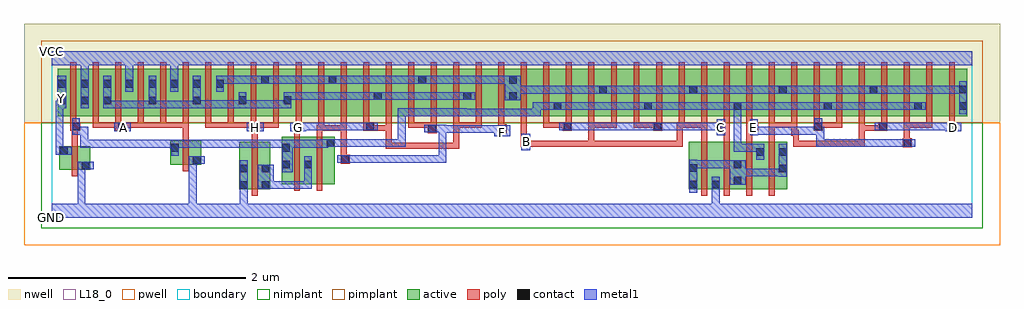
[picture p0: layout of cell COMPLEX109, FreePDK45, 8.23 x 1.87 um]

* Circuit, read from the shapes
.subckt COMPLEX109 A B C D E F G GND H VCC Y
M1 GND n1 Y VSUBS nfet w=0.2u l=0.05u
M2 GND A n1 VSUBS nfet w=0.2u l=0.05u
M3 n2 H GND VSUBS nfet w=0.4u l=0.05u
M4 n2 G n1 VSUBS nfet w=0.4u l=0.05u
M5 n1 F n2 VSUBS nfet w=0.4u l=0.05u
M6 GND B n3 VSUBS nfet w=0.4u l=0.05u
M7 n3 C GND VSUBS nfet w=0.4u l=0.05u
M8 n1 E n3 VSUBS nfet w=0.4u l=0.05u
M9 n3 D n1 VSUBS nfet w=0.4u l=0.05u
M10 VCC n1 Y n4 pfet w=0.4u l=0.05u
M11 n5 A VCC n4 pfet w=0.4u l=0.05u m=5
M12 n6 H n5 n4 pfet w=0.4u l=0.05u m=4
M13 n7 G n5 n4 pfet w=0.4u l=0.05u
M14 n6 F n7 n4 pfet w=0.4u l=0.05u
M15 n8 F n6 n4 pfet w=0.4u l=0.05u
M16 n5 G n8 n4 pfet w=0.4u l=0.05u
M17 n9 G n5 n4 pfet w=0.4u l=0.05u
M18 n6 F n9 n4 pfet w=0.4u l=0.05u
M19 n10 F n6 n4 pfet w=0.4u l=0.05u
M20 n5 G n10 n4 pfet w=0.4u l=0.05u
M21 n11 G n5 n4 pfet w=0.4u l=0.05u
M22 n6 F n11 n4 pfet w=0.4u l=0.05u
M23 n12 B n6 n4 pfet w=0.4u l=0.05u
M24 n1 C n12 n4 pfet w=0.4u l=0.05u
M25 n13 C n1 n4 pfet w=0.4u l=0.05u
M26 n6 B n13 n4 pfet w=0.4u l=0.05u
M27 n14 B n6 n4 pfet w=0.4u l=0.05u
M28 n1 C n14 n4 pfet w=0.4u l=0.05u
M29 n15 C n1 n4 pfet w=0.4u l=0.05u
M30 n6 B n15 n4 pfet w=0.4u l=0.05u
M31 n16 B n6 n4 pfet w=0.4u l=0.05u
M32 n1 C n16 n4 pfet w=0.4u l=0.05u
M33 n17 E n1 n4 pfet w=0.4u l=0.05u
M34 n6 D n17 n4 pfet w=0.4u l=0.05u
M35 n18 D n6 n4 pfet w=0.4u l=0.05u
M36 n1 E n18 n4 pfet w=0.4u l=0.05u
M37 n19 E n1 n4 pfet w=0.4u l=0.05u
M38 n6 D n19 n4 pfet w=0.4u l=0.05u
M39 n20 D n6 n4 pfet w=0.4u l=0.05u
M40 n1 E n20 n4 pfet w=0.4u l=0.05u
M41 n21 E n1 n4 pfet w=0.4u l=0.05u
M42 n6 D n21 n4 pfet w=0.4u l=0.05u
.ends

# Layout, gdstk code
import gdstk
lib = gdstk.Library(unit=1e-6, precision=1e-09)
def R(c, l, rs):  # rectangles x0, y0, x1, y1
    for r in rs: c.add(gdstk.rectangle(r[:2], r[2:], *l))
def A(c, l, x, y, w, h, nx, ny, dx, dy):  # array of equal rectangles
    R(c, l, [(x+i*dx, y+j*dy, x+i*dx+w, y+j*dy+h) for i in range(nx) for j in range(ny)])
active = (1, 0)
pwell = (2, 0)
nwell = (3, 0)
nimplant = (4, 0)
pimplant = (5, 0)
poly = (9, 0)
contact = (10, 0)
metal1 = (11, 0)
L18_0 = (18, 0)
boundary = (235, 0)

complex109 = lib.new_cell('COMPLEX109')
A(complex109, active, 0.05, 0.855, 0.075, 0.345, 3, 1, 0.38, 0)
A(complex109, active, 1.38, 0.855, 0.265, 0.4, 3, 1, 0.19, 0)
A(complex109, active, 1.95, 0.855, 0.225, 0.4, 3, 1, 0.38, 0)
A(complex109, active, 3.85, 0.855, 0.075, 0.345, 3, 1, 0.76, 0)
A(complex109, active, 4.455, 0.855, 0.23, 0.4, 3, 1, 0.38, 0)
A(complex109, active, 4.61, 0.855, 0.225, 0.4, 3, 1, 0.38, 0)
A(complex109, active, 5.595, 0.855, 0.225, 0.4, 3, 1, 0.38, 0)
A(complex109, active, 5.745, 0.855, 0.23, 0.4, 3, 1, 0.38, 0)
A(complex109, active, 5.745, 0.855, 0.075, 0.215, 3, 1, 0.76, 0)
R(complex109, active, [(1.58,0.237,1.84,0.637), (1.58,0.237,1.655,0.597), (1.765,0.237,1.84,0.597), (5.37,0.24,5.445,0.64), (5.37,0.24,5.635,0.64), (5.56,0.24,5.82,0.64), (5.56,0.24,5.635,0.492), (5.745,0.24,6.01,0.64), (5.935,0.24,6.2,0.64), (6.125,0.24,6.2,0.64), (5.745,0.272,5.82,0.597), (1.937,0.28,2.197,0.68), (2.122,0.28,2.387,0.68), (2.312,0.28,2.387,0.68), (1.937,0.33,2.012,0.68), (5.935,0.33,6.01,0.59), (2.122,0.345,2.197,0.492), (0.062,0.402,0.137,0.602), (0.062,0.402,0.322,0.602), (0.247,0.402,0.322,0.602), (1,0.447,1.075,0.647), (1,0.447,1.26,0.647), (1.185,0.447,1.26,0.647), (0.05,0.855,0.315,1.255), (0.24,0.855,0.315,1.255), (0.24,0.855,0.505,1.255), (0.43,0.855,0.69,1.255), (0.615,0.855,0.69,1.255), (0.615,0.855,0.885,1.255), (0.81,0.855,1.07,1.255), (0.995,0.855,1.07,1.255), (0.995,0.855,1.26,1.255), (1.185,0.855,1.26,1.2), (1.185,0.855,1.455,1.255), (1.38,0.855,1.455,1.2), (1.57,0.855,1.645,1.07), (1.76,0.855,1.835,1.2), (1.95,0.855,2.025,1.07), (2.175,0.855,2.405,1.255), (2.33,0.855,2.405,1.2), (2.555,0.855,2.785,1.255), (2.71,0.855,2.785,1.07), (2.935,0.855,3.16,1.255), (3.085,0.855,3.16,1.2), (3.085,0.855,3.315,1.255), (3.315,0.855,3.54,1.255), (3.465,0.855,3.695,1.255), (3.465,0.855,3.54,1.07), (3.695,0.855,3.925,1.255), (3.85,0.855,4.075,1.255), (4.075,0.855,4.3,1.255), (4.225,0.855,4.455,1.255), (4.225,0.855,4.3,1.07), (4.99,0.855,5.065,1.07), (6.125,0.855,6.2,1.2), (6.735,0.855,6.965,1.255), (6.89,0.855,6.965,1.2), (6.89,0.855,7.115,1.255), (7.115,0.855,7.34,1.255), (7.265,0.855,7.495,1.255), (7.495,0.855,7.72,1.255), (7.645,0.855,7.72,1.2)])
R(complex109, pwell, [(-0.235,-0.235,7.995,0.8)])
R(complex109, nwell, [(-0.235,0.8,7.995,1.635)])
R(complex109, nimplant, [(-0.09,-0.09,7.85,0.8)])
R(complex109, pimplant, [(-0.09,0.8,7.85,1.49)])
A(complex109, poly, 5.475, 0.185, 0.05, 0.51, 4, 1, 0.19, 0)
A(complex109, poly, 0.155, 0.755, 0.05, 0.095, 11, 1, 0.19, 0)
A(complex109, poly, 0.915, 0.755, 0.05, 0.05, 3, 1, 0.19, 0)
A(complex109, poly, 3.005, 0.755, 0.05, 0.095, 4, 1, 0.19, 0)
A(complex109, poly, 4.145, 0.755, 0.05, 0.095, 8, 1, 0.19, 0)
A(complex109, poly, 4.525, 0.755, 0.05, 0.05, 3, 1, 0.19, 0)
A(complex109, poly, 4.525, 0.755, 0.24, 0.05, 3, 1, 0.76, 0)
A(complex109, poly, 6.045, 0.755, 0.05, 0.095, 4, 1, 0.19, 0)
A(complex109, poly, 6.995, 0.755, 0.05, 0.095, 4, 1, 0.19, 0)
A(complex109, poly, 0.155, 0.8, 0.05, 0.51, 40, 1, 0.19, 0)
R(complex109, poly, [(1.685,0.182,1.735,0.692), (2.042,0.225,2.092,0.735), (2.232,0.225,2.282,0.735), (0.167,0.347,0.217,0.657), (1.105,0.392,1.155,0.702), (2.437,0.455,2.512,0.53), (2.437,0.48,2.487,0.78), (2.815,0.58,2.865,0.63), (2.815,0.58,2.997,0.63), (2.815,0.58,2.865,0.78), (2.947,0.58,2.997,0.63), (2.947,0.58,2.997,0.63), (2.947,0.58,2.997,0.63), (2.947,0.58,3.302,0.63), (3.252,0.58,3.302,0.63), (3.252,0.58,3.302,0.63), (3.252,0.58,3.302,0.63), (3.252,0.58,3.435,0.63), (3.385,0.58,3.435,0.63), (3.385,0.58,3.435,0.63), (3.385,0.58,3.435,0.63), (3.385,0.58,3.435,0.805), (7.177,0.592,7.252,0.667), (3.955,0.597,4.03,0.672), (3.98,0.597,4.03,0.647), (3.98,0.597,4.03,0.647), (3.98,0.597,4.03,0.647), (3.98,0.597,4.03,0.647), (3.98,0.597,4.03,0.647), (3.98,0.597,4.03,0.647), (3.98,0.597,4.227,0.647), (4.177,0.597,4.227,0.647), (4.177,0.597,4.227,0.647), (4.177,0.597,4.227,0.647), (4.177,0.597,4.36,0.647), (4.31,0.597,4.36,0.647), (4.31,0.597,4.36,0.647), (4.31,0.597,4.36,0.647), (4.31,0.597,4.575,0.647), (4.525,0.597,4.575,0.647), (4.525,0.597,4.575,0.805), (4.525,0.597,4.69,0.647), (4.64,0.597,4.69,0.647), (4.64,0.597,4.822,0.647), (4.772,0.597,4.822,0.647), (4.772,0.597,4.822,0.647), (4.772,0.597,4.822,0.647), (4.772,0.597,4.955,0.647), (4.905,0.597,4.955,0.647), (4.905,0.597,5.187,0.647), (5.137,0.597,5.187,0.647), (5.137,0.597,5.187,0.647), (5.137,0.597,5.187,0.647), (5.137,0.597,5.32,0.647), (5.27,0.597,5.32,0.647), (5.27,0.597,5.32,0.647), (5.27,0.597,5.32,0.647), (5.27,0.597,5.32,0.805), (6.25,0.597,6.5,0.647), (6.25,0.597,6.3,0.74), (6.45,0.597,6.5,0.647), (6.45,0.597,6.632,0.647), (6.582,0.597,6.632,0.647), (6.582,0.597,6.632,0.647), (6.582,0.597,6.632,0.647), (6.582,0.597,6.855,0.647), (6.805,0.597,6.855,0.647), (6.805,0.597,6.855,0.647), (6.805,0.597,6.855,0.647), (6.805,0.597,6.855,0.78), (0.167,0.607,0.217,0.78), (7.185,0.617,7.235,0.667), (7.185,0.617,7.235,0.667), (7.185,0.617,7.235,0.805), (3.955,0.622,4.005,0.85), (1.685,0.642,1.735,0.78), (5.475,0.645,5.525,0.805), (5.665,0.645,5.715,0.772), (5.855,0.645,5.905,0.772), (6.045,0.645,6.095,0.805), (1.105,0.652,1.155,0.805), (2.042,0.685,2.092,0.78), (2.232,0.685,2.282,0.78), (6.235,0.69,6.285,0.74), (6.235,0.69,6.285,0.74), (6.235,0.69,6.285,0.74), (6.235,0.69,6.3,0.74), (6.235,0.69,6.285,0.805), (3.762,0.71,3.837,0.785), (3.17,0.712,3.245,0.805), (5.607,0.722,5.715,0.797), (5.855,0.722,5.957,0.797), (0.155,0.73,0.24,0.805), (0.535,0.73,0.63,0.805), (1.675,0.73,1.75,0.805), (2.042,0.73,2.117,0.805), (2.232,0.73,2.295,0.78), (2.245,0.73,2.485,0.78), (2.245,0.73,2.295,0.85), (2.435,0.73,2.485,0.78), (2.435,0.73,2.485,0.78), (2.435,0.73,2.485,0.85), (2.435,0.73,2.487,0.78), (2.437,0.73,2.487,0.78), (2.437,0.73,2.487,0.78), (2.625,0.73,2.72,0.805), (2.67,0.73,2.865,0.78), (2.815,0.73,2.865,0.78), (2.815,0.73,2.865,0.78), (2.815,0.73,2.865,0.78), (2.815,0.73,2.865,0.78), (2.815,0.73,2.865,0.78), (2.815,0.73,2.865,0.85), (4.31,0.73,4.385,0.805), (5.07,0.73,5.145,0.805), (6.425,0.73,6.5,0.805), (6.805,0.73,6.855,0.78), (6.805,0.73,6.855,0.78), (6.805,0.73,6.855,0.78), (6.805,0.73,7.02,0.78), (6.805,0.73,6.855,0.85), (6.97,0.73,7.045,0.805), (6.97,0.73,7.02,0.78), (6.97,0.73,7.02,0.78), (7.562,0.73,7.637,0.805), (3.765,0.735,3.815,0.85), (5.665,0.747,5.715,0.85), (5.855,0.747,5.905,0.85), (0.345,0.755,0.395,0.805), (0.345,0.755,0.395,0.805), (0.345,0.755,0.395,0.805), (0.345,0.755,0.585,0.805), (0.58,0.755,0.63,0.805), (0.58,0.755,0.63,0.805), (0.58,0.755,0.775,0.805), (0.725,0.755,0.775,0.805), (0.725,0.755,0.775,0.805), (0.725,0.755,0.775,0.805), (0.725,0.755,0.965,0.805), (0.915,0.755,0.965,0.805), (0.915,0.755,0.965,0.805), (0.915,0.755,1.155,0.805), (1.295,0.755,1.345,0.805), (1.295,0.755,1.345,0.805), (1.295,0.755,1.535,0.805), (1.485,0.755,1.535,0.805), (1.485,0.755,1.535,0.805), (1.485,0.755,1.535,0.805), (1.485,0.755,1.725,0.805), (1.7,0.755,1.75,0.805), (1.7,0.755,1.75,0.805), (1.7,0.755,1.915,0.805), (1.865,0.755,1.915,0.805), (2.625,0.755,2.675,0.85), (3.005,0.755,3.055,0.805), (3.005,0.755,3.22,0.805), (3.17,0.755,3.22,0.805), (3.17,0.755,3.22,0.805), (3.385,0.755,3.435,0.805), (3.385,0.755,3.435,0.805), (3.385,0.755,3.435,0.805), (3.385,0.755,3.625,0.805), (3.575,0.755,3.625,0.805), (3.575,0.755,3.625,0.805), (3.575,0.755,3.625,0.805), (4.145,0.755,4.195,0.805), (4.145,0.755,4.195,0.805), (4.145,0.755,4.195,0.805), (4.145,0.755,4.36,0.805), (4.525,0.755,4.575,0.805), (4.525,0.755,4.575,0.805), (4.525,0.755,4.575,0.805), (4.525,0.755,4.575,0.805), (4.905,0.755,5.12,0.805), (5.07,0.755,5.12,0.805), (5.07,0.755,5.12,0.805), (5.27,0.755,5.32,0.805), (5.27,0.755,5.32,0.805), (5.27,0.755,5.335,0.805), (5.475,0.755,5.525,0.805), (5.475,0.755,5.525,0.805), (5.475,0.755,5.525,0.805), (6.045,0.755,6.095,0.805), (6.045,0.755,6.095,0.805), (6.045,0.755,6.095,0.805), (6.235,0.755,6.285,0.805), (6.45,0.755,6.665,0.805), (6.615,0.755,6.665,0.805), (6.615,0.755,6.665,0.805), (6.615,0.755,6.665,0.805), (7.185,0.755,7.235,0.805), (7.185,0.755,7.425,0.805), (7.375,0.755,7.425,0.805), (7.375,0.755,7.425,0.805), (7.375,0.755,7.425,0.805)])
A(complex109, contact, 5.75, 0.907, 0.065, 0.065, 3, 1, 0.76, 0)
A(complex109, contact, 0.055, 0.955, 0.065, 0.065, 3, 2, 0.19, 0.14)
R(complex109, contact, [(1.585,0.242,1.65,0.307), (1.77,0.242,1.835,0.307), (5.375,0.245,5.44,0.31), (5.565,0.245,5.63,0.31), (5.75,0.277,5.815,0.342), (6.13,0.38,6.195,0.445), (1.585,0.382,1.65,0.447), (1.77,0.382,1.835,0.447), (5.375,0.385,5.44,0.45), (0.252,0.407,0.317,0.472), (1.942,0.415,2.007,0.48), (2.127,0.415,2.192,0.48), (5.75,0.417,5.815,0.482), (1.19,0.452,1.255,0.517), (2.442,0.46,2.507,0.525), (5.94,0.52,6.005,0.585), (6.13,0.52,6.195,0.585), (0.067,0.53,0.132,0.595), (1.005,0.555,1.07,0.62), (1.942,0.555,2.007,0.62), (2.317,0.597,2.382,0.662), (7.182,0.597,7.247,0.662), (3.96,0.602,4.025,0.667), (3.767,0.715,3.832,0.78), (3.175,0.717,3.24,0.782), (5.612,0.727,5.677,0.792), (5.887,0.727,5.952,0.792), (0.17,0.735,0.235,0.8), (0.56,0.735,0.625,0.8), (1.68,0.735,1.745,0.8), (2.047,0.735,2.112,0.8), (2.65,0.735,2.715,0.8), (4.315,0.735,4.38,0.8), (5.075,0.735,5.14,0.8), (6.43,0.735,6.495,0.8), (6.975,0.735,7.04,0.8), (7.567,0.735,7.632,0.8), (4.23,0.907,4.295,0.972), (4.995,0.907,5.06,0.972), (7.65,0.907,7.715,0.972), (0.815,0.955,0.88,1.02), (1.19,0.955,1.255,1.02), (1.575,0.957,1.64,1.022), (1.955,0.957,2.02,1.022), (3.855,0.99,3.92,1.055), (2.715,0.992,2.78,1.057), (3.47,0.992,3.535,1.057), (4.615,1.045,4.68,1.11), (5.375,1.045,5.44,1.11), (6.13,1.045,6.195,1.11), (6.895,1.045,6.96,1.11), (7.65,1.047,7.715,1.112), (0.62,1.095,0.685,1.16), (0.815,1.095,0.88,1.16), (1,1.095,1.065,1.16), (1.19,1.095,1.255,1.16), (1.385,1.095,1.45,1.16), (1.765,1.13,1.83,1.195), (2.335,1.13,2.4,1.195), (3.09,1.13,3.155,1.195), (3.855,1.13,3.92,1.195)])
A(complex109, metal1, 5.715, 0.907, 0.135, 0.065, 3, 1, 0.76, 0)
A(complex109, metal1, 3.89, 1.045, 0.232, 0.065, 3, 1, 1.52, 0)
R(complex109, metal1, [(0,0,7.76,0.115), (0.217,0.05,0.282,0.115), (0.217,0.05,0.282,0.115), (0.217,0.05,0.282,0.115), (0.217,0.05,0.282,0.115), (0.217,0.05,0.282,0.115), (0.217,0.05,0.282,0.115), (0.217,0.05,0.282,0.115), (0.217,0.05,0.282,0.115), (0.217,0.05,0.282,0.472), (1.155,0.05,1.22,0.115), (1.155,0.05,1.22,0.115), (1.155,0.05,1.22,0.115), (1.155,0.05,1.22,0.115), (1.155,0.05,1.22,0.115), (1.155,0.05,1.22,0.115), (1.155,0.05,1.22,0.115), (1.155,0.05,1.22,0.115), (1.155,0.05,1.22,0.517), (1.585,0.05,1.65,0.115), (1.585,0.05,1.65,0.115), (1.585,0.05,1.65,0.272), (5.565,0.05,5.63,0.115), (5.565,0.05,5.63,0.115), (5.565,0.05,5.63,0.115), (5.565,0.05,5.63,0.115), (5.565,0.05,5.63,0.275), (1.585,0.207,1.65,0.272), (1.585,0.207,1.65,0.272), (1.585,0.207,1.65,0.482), (5.375,0.21,5.44,0.485), (5.565,0.21,5.63,0.345), (1.735,0.242,1.87,0.447), (1.805,0.242,1.87,0.307), (1.805,0.242,1.87,0.307), (1.805,0.242,2.007,0.307), (1.942,0.242,2.007,0.307), (1.942,0.242,2.192,0.307), (2.127,0.242,2.192,0.445), (5.715,0.277,5.85,0.482), (6.13,0.345,6.195,0.62), (5.785,0.347,5.987,0.412), (5.922,0.347,5.987,0.412), (5.922,0.347,5.987,0.412), (5.922,0.347,5.987,0.412), (5.922,0.347,6.195,0.412), (6.13,0.347,6.195,0.412), (6.13,0.347,6.195,0.412), (1.942,0.38,2.032,0.655), (2.127,0.38,2.192,0.445), (2.127,0.38,2.192,0.515), (0.217,0.407,0.352,0.472), (5.375,0.417,5.475,0.482), (5.41,0.417,5.475,0.482), (5.41,0.417,5.642,0.482), (5.577,0.417,5.642,0.482), (5.577,0.417,5.642,0.482), (5.577,0.417,5.642,0.482), (5.577,0.417,5.78,0.482), (1.155,0.452,1.29,0.517), (2.407,0.46,2.542,0.525), (2.477,0.46,2.607,0.525), (2.542,0.46,2.607,0.525), (2.542,0.46,2.705,0.525), (2.64,0.46,2.705,0.525), (2.64,0.46,2.842,0.525), (2.777,0.46,2.842,0.525), (2.777,0.46,2.842,0.525), (2.777,0.46,2.842,0.525), (2.777,0.46,2.98,0.525), (2.915,0.46,2.98,0.525), (2.915,0.46,2.98,0.525), (2.915,0.46,2.98,0.525), (2.915,0.46,3.19,0.525), (3.125,0.46,3.19,0.525), (3.125,0.46,3.327,0.525), (3.262,0.46,3.327,0.525), (3.262,0.46,3.327,0.525), (3.262,0.46,3.327,0.525), (3.262,0.46,3.327,0.525), (3.262,0.46,3.327,0.525), (3.262,0.46,3.327,0.78), (5.94,0.485,6.005,0.62), (1.005,0.52,1.07,0.655), (0.032,0.53,0.097,0.595), (0.032,0.53,0.097,0.595), (0.032,0.53,0.097,0.595), (0.032,0.53,0.097,0.595), (0.032,0.53,0.167,0.595), (0.032,0.53,0.097,0.985), (5.75,0.555,5.815,0.62), (5.75,0.555,5.815,0.62), (5.75,0.555,5.815,0.62), (5.75,0.555,6.005,0.62), (5.75,0.555,5.815,0.972), (5.94,0.555,6.005,0.62), (5.94,0.555,6.005,0.62), (3.957,0.567,4.032,0.707), (0.24,0.59,0.305,0.655), (0.24,0.59,0.442,0.655), (0.24,0.59,0.305,0.765), (0.377,0.59,0.442,0.655), (0.377,0.59,0.442,0.655), (0.377,0.59,0.442,0.655), (0.377,0.59,0.605,0.655), (0.54,0.59,0.605,0.655), (0.54,0.59,0.637,0.655), (0.572,0.59,0.637,0.655), (0.572,0.59,0.742,0.655), (0.677,0.59,0.742,0.655), (0.677,0.59,0.88,0.655), (0.815,0.59,0.88,0.655), (0.815,0.59,0.88,0.655), (0.815,0.59,0.88,0.655), (0.815,0.59,1.07,0.655), (1.005,0.59,1.07,0.655), (1.005,0.59,1.07,0.655), (1.005,0.59,1.207,0.655), (1.142,0.59,1.207,0.655), (1.142,0.59,1.207,0.655), (1.142,0.59,1.207,0.655), (1.142,0.59,1.392,0.655), (1.327,0.59,1.392,0.655), (1.327,0.59,1.392,0.655), (1.327,0.59,1.392,0.655), (1.327,0.59,1.65,0.655), (1.585,0.59,1.65,0.655), (1.585,0.59,1.65,0.655), (1.585,0.59,1.65,0.655), (1.585,0.59,1.787,0.655), (1.722,0.59,1.787,0.655), (1.722,0.59,1.787,0.655), (1.722,0.59,1.787,0.655), (1.722,0.59,2.007,0.655), (1.967,0.59,2.032,0.655), (1.967,0.59,2.032,0.655), (1.967,0.59,2.192,0.655), (2.127,0.59,2.192,0.655), (2.127,0.59,2.33,0.655), (2.265,0.59,2.33,0.662), (2.265,0.597,2.347,0.662), (2.282,0.597,2.417,0.662), (2.352,0.597,2.542,0.662), (2.477,0.597,2.542,0.662), (2.477,0.597,2.605,0.662), (2.54,0.597,2.605,0.662), (2.54,0.597,2.692,0.662), (2.627,0.597,2.692,0.662), (2.627,0.597,2.842,0.662), (2.777,0.597,2.842,0.662), (2.777,0.597,2.842,0.662), (2.777,0.597,2.842,0.662), (2.777,0.597,2.982,0.662), (2.917,0.597,2.982,0.662), (2.917,0.597,2.982,0.662), (2.917,0.597,2.982,0.662), (2.917,0.597,2.982,0.92), (6.447,0.597,6.512,0.662), (6.447,0.597,6.512,0.662), (6.447,0.597,6.512,0.662), (6.447,0.597,6.65,0.662), (6.447,0.597,6.512,0.765), (6.585,0.597,6.65,0.662), (6.585,0.597,6.787,0.662), (6.722,0.597,6.787,0.662), (6.722,0.597,6.787,0.662), (6.722,0.597,6.787,0.662), (6.722,0.597,6.995,0.662), (6.93,0.597,6.995,0.662), (6.93,0.597,6.995,0.662), (6.93,0.597,6.995,0.662), (6.93,0.597,7.162,0.662), (7.097,0.597,7.162,0.662), (7.097,0.597,7.212,0.662), (7.147,0.597,7.282,0.662), (3.732,0.687,3.867,0.78), (5.607,0.692,5.677,0.827), (5.887,0.692,5.952,0.827), (0.17,0.7,0.305,0.765), (0.17,0.7,0.235,0.835), (0.24,0.7,0.305,0.765), (5.887,0.7,5.987,0.765), (5.922,0.7,5.987,0.765), (5.922,0.7,6.195,0.765), (6.13,0.7,6.195,0.765), (6.13,0.7,6.195,0.765), (6.13,0.7,6.195,0.765), (6.13,0.7,6.345,0.765), (6.28,0.7,6.345,0.765), (6.28,0.7,6.367,0.765), (6.302,0.7,6.367,0.765), (6.302,0.7,6.495,0.765), (6.43,0.7,6.512,0.765), (6.43,0.7,6.495,0.835), (6.447,0.7,6.512,0.765), (3.262,0.715,3.5,0.78), (3.262,0.715,3.327,0.782), (3.435,0.715,3.5,0.78), (3.435,0.715,3.5,0.78), (3.435,0.715,3.5,0.78), (3.435,0.715,3.637,0.78), (3.572,0.715,3.637,0.78), (3.572,0.715,3.637,0.78), (3.572,0.715,3.637,0.78), (3.572,0.715,3.797,0.78), (3.14,0.717,3.275,0.782), (3.21,0.717,3.327,0.782), (0.525,0.727,0.667,0.8), (1.645,0.727,1.787,0.8), (2.012,0.727,2.147,0.8), (7.532,0.727,7.667,0.8), (2.082,0.735,2.17,0.8), (2.105,0.735,2.17,0.8), (2.105,0.735,2.33,0.8), (2.265,0.735,2.33,0.8), (2.265,0.735,2.467,0.8), (2.402,0.735,2.467,0.8), (2.402,0.735,2.467,0.8), (2.402,0.735,2.467,0.8), (2.402,0.735,2.607,0.8), (2.542,0.735,2.607,0.8), (2.542,0.735,2.68,0.8), (2.615,0.735,2.75,0.8), (4.28,0.735,4.415,0.8), (4.35,0.735,4.467,0.8), (4.402,0.735,4.467,0.8), (4.402,0.735,4.577,0.8), (4.512,0.735,4.577,0.8), (4.512,0.735,4.605,0.8), (4.54,0.735,4.605,0.8), (4.54,0.735,4.75,0.8), (4.685,0.735,4.75,0.8), (4.685,0.735,4.887,0.8), (4.822,0.735,4.887,0.8), (4.822,0.735,4.887,0.8), (4.822,0.735,4.887,0.8), (4.822,0.735,5.105,0.8), (5.04,0.735,5.105,0.8), (5.04,0.735,5.105,0.8), (5.04,0.735,5.175,0.8), (5.11,0.735,5.267,0.8), (5.202,0.735,5.267,0.8), (5.202,0.735,5.312,0.8), (5.247,0.735,5.312,0.8), (5.247,0.735,5.475,0.8), (5.41,0.735,5.475,0.8), (5.41,0.735,5.475,0.8), (5.41,0.735,5.475,0.8), (5.41,0.735,5.642,0.8), (5.577,0.735,5.642,0.8), (5.577,0.735,5.672,0.8), (6.94,0.735,7.075,0.8), (7.01,0.735,7.162,0.8), (7.097,0.735,7.162,0.8), (7.097,0.735,7.302,0.8), (7.237,0.735,7.302,0.8), (7.237,0.735,7.44,0.8), (7.375,0.735,7.44,0.8), (7.375,0.735,7.44,0.8), (7.375,0.735,7.44,0.8), (7.375,0.735,7.577,0.8), (7.512,0.735,7.577,0.8), (7.512,0.735,7.597,0.8), (3.435,0.852,3.637,0.917), (3.435,0.852,3.5,0.92), (3.572,0.852,3.637,0.917), (3.572,0.852,3.637,0.917), (3.572,0.852,3.637,0.917), (3.572,0.852,3.817,0.917), (3.752,0.852,3.817,0.917), (3.752,0.852,3.817,0.917), (3.752,0.852,3.817,0.917), (3.752,0.852,3.985,0.917), (3.92,0.852,3.985,0.917), (3.92,0.852,4.122,0.917), (4.057,0.852,4.122,0.917), (4.057,0.852,4.122,0.917), (4.057,0.852,4.122,0.972), (2.917,0.855,2.982,0.92), (2.917,0.855,2.982,0.92), (2.917,0.855,2.982,0.92), (2.917,0.855,3.19,0.92), (3.125,0.855,3.19,0.92), (3.125,0.855,3.19,0.92), (3.125,0.855,3.19,0.92), (3.125,0.855,3.327,0.92), (3.262,0.855,3.327,0.92), (3.262,0.855,3.5,0.92), (3.435,0.855,3.5,0.92), (3.435,0.855,3.5,0.92), (7.65,0.872,7.715,1.147), (4.057,0.907,4.26,0.972), (4.195,0.907,4.33,0.972), (4.265,0.907,4.33,0.972), (4.265,0.907,4.33,0.972), (4.265,0.907,4.467,0.972), (4.402,0.907,4.467,0.972), (4.402,0.907,4.552,0.972), (4.487,0.907,4.552,0.972), (4.487,0.907,4.742,0.972), (4.677,0.907,4.742,0.972), (4.677,0.907,4.742,0.972), (4.677,0.907,4.742,0.972), (4.677,0.907,4.887,0.972), (4.822,0.907,4.887,0.972), (4.822,0.907,4.887,0.972), (4.822,0.907,4.887,0.972), (4.822,0.907,5.025,0.972), (4.96,0.907,5.095,0.972), (5.03,0.907,5.095,0.972), (5.03,0.907,5.095,0.972), (5.03,0.907,5.267,0.972), (5.202,0.907,5.267,0.972), (5.202,0.907,5.312,0.972), (5.247,0.907,5.312,0.972), (5.247,0.907,5.475,0.972), (5.41,0.907,5.475,0.972), (5.41,0.907,5.475,0.972), (5.41,0.907,5.475,0.972), (5.41,0.907,5.642,0.972), (5.577,0.907,5.642,0.972), (5.577,0.907,5.642,0.972), (5.577,0.907,5.642,0.972), (5.577,0.907,5.78,0.972), (5.785,0.907,5.85,0.972), (5.785,0.907,5.85,0.972), (5.785,0.907,5.85,0.972), (5.785,0.907,5.85,0.972), (5.785,0.907,5.987,0.972), (5.922,0.907,5.987,0.972), (5.922,0.907,6.195,0.972), (6.13,0.907,6.195,0.972), (6.13,0.907,6.195,0.972), (6.13,0.907,6.195,0.972), (6.13,0.907,6.332,0.972), (6.267,0.907,6.332,0.972), (6.267,0.907,6.375,0.972), (6.31,0.907,6.375,0.972), (6.31,0.907,6.512,0.972), (6.447,0.907,6.512,0.972), (6.447,0.907,6.54,0.972), (6.545,0.907,6.65,0.972), (6.585,0.907,6.65,0.972), (6.585,0.907,6.787,0.972), (6.722,0.907,6.787,0.972), (6.722,0.907,6.787,0.972), (6.722,0.907,6.787,0.972), (6.722,0.907,6.925,0.972), (6.86,0.907,6.925,0.972), (6.86,0.907,6.925,0.972), (6.86,0.907,6.925,0.972), (6.86,0.907,7.132,0.972), (7.067,0.907,7.132,0.972), (7.067,0.907,7.3,0.972), (7.235,0.907,7.3,0.972), (7.235,0.907,7.3,0.972), (0.032,0.92,0.112,0.985), (0.047,0.92,0.112,0.985), (0.047,0.92,0.12,1.195), (0.245,0.92,0.31,1.195), (0.435,0.92,0.5,1.195), (0.435,0.92,0.58,0.985), (0.515,0.92,0.58,0.985), (0.515,0.92,0.742,0.985), (0.677,0.92,0.742,0.985), (0.677,0.92,0.742,0.985), (0.677,0.92,0.742,0.985), (0.677,0.92,0.88,0.985), (0.815,0.92,0.88,0.985), (0.815,0.92,0.88,0.985), (0.815,0.92,0.88,1.195), (0.815,0.92,1.017,0.985), (0.952,0.92,1.017,0.985), (0.952,0.92,1.017,0.985), (0.952,0.92,1.017,0.985), (0.952,0.92,1.255,0.985), (1.19,0.92,1.255,1.195), (1.19,0.922,1.255,0.987), (1.19,0.922,1.255,0.987), (1.19,0.922,1.502,0.987), (1.437,0.922,1.502,0.987), (1.437,0.922,1.502,0.987), (1.437,0.922,1.502,0.987), (1.437,0.922,1.64,0.987), (1.575,0.922,1.64,0.987), (1.575,0.922,1.64,0.987), (1.575,0.922,1.64,1.057), (1.575,0.922,1.8,0.987), (1.735,0.922,1.8,0.987), (1.735,0.922,1.895,0.987), (1.83,0.922,1.895,0.987), (1.83,0.922,2.02,0.987), (1.955,0.922,2.02,1.057), (3.82,0.99,3.955,1.195), (1.955,0.992,2.192,1.057), (2.127,0.992,2.192,1.057), (2.127,0.992,2.192,1.057), (2.127,0.992,2.192,1.057), (2.127,0.992,2.33,1.057), (2.265,0.992,2.33,1.057), (2.265,0.992,2.467,1.057), (2.402,0.992,2.467,1.057), (2.402,0.992,2.467,1.057), (2.402,0.992,2.467,1.057), (2.402,0.992,2.607,1.057), (2.542,0.992,2.607,1.057), (2.542,0.992,2.692,1.057), (2.627,0.992,2.692,1.057), (2.627,0.992,2.745,1.057), (2.68,0.992,2.815,1.057), (2.75,0.992,2.842,1.057), (2.777,0.992,2.842,1.057), (2.777,0.992,2.982,1.057), (2.917,0.992,2.982,1.057), (2.917,0.992,2.982,1.057), (2.917,0.992,2.982,1.057), (2.917,0.992,3.12,1.057), (3.055,0.992,3.12,1.057), (3.055,0.992,3.327,1.057), (3.262,0.992,3.327,1.057), (3.262,0.992,3.327,1.057), (3.262,0.992,3.327,1.057), (3.262,0.992,3.5,1.057), (3.435,0.992,3.5,1.057), (3.435,0.992,3.5,1.057), (3.435,0.992,3.57,1.057), (3.89,1.045,3.955,1.11), (3.89,1.045,3.955,1.11), (4.057,1.045,4.122,1.11), (4.057,1.045,4.122,1.11), (4.057,1.045,4.122,1.11), (4.057,1.045,4.26,1.11), (4.195,1.045,4.26,1.11), (4.195,1.045,4.26,1.11), (4.195,1.045,4.26,1.11), (4.195,1.045,4.467,1.11), (4.402,1.045,4.467,1.11), (4.402,1.045,4.552,1.11), (4.487,1.045,4.552,1.11), (4.487,1.045,4.645,1.11), (4.58,1.045,4.715,1.11), (4.65,1.045,4.715,1.11), (4.65,1.045,4.715,1.11), (4.65,1.045,4.887,1.11), (4.822,1.045,4.887,1.11), (4.822,1.045,4.887,1.11), (4.822,1.045,4.887,1.11), (4.822,1.045,5.025,1.11), (4.96,1.045,5.025,1.11), (4.96,1.045,5.025,1.11), (4.96,1.045,5.025,1.11), (4.96,1.045,5.267,1.11), (5.202,1.045,5.267,1.11), (5.202,1.045,5.312,1.11), (5.247,1.045,5.312,1.11), (5.247,1.045,5.405,1.11), (5.34,1.045,5.475,1.11), (5.41,1.045,5.475,1.11), (5.41,1.045,5.475,1.11), (5.577,1.045,5.642,1.11), (5.577,1.045,5.677,1.11), (5.612,1.045,5.677,1.11), (5.612,1.045,5.815,1.11), (5.75,1.045,5.815,1.11), (5.75,1.045,5.987,1.11), (5.922,1.045,5.987,1.11), (5.922,1.045,5.987,1.11), (5.922,1.045,5.987,1.11), (5.922,1.045,6.16,1.11), (6.095,1.045,6.16,1.11), (6.095,1.045,6.16,1.11), (6.095,1.045,6.23,1.11), (6.165,1.045,6.332,1.11), (6.267,1.045,6.332,1.11), (6.267,1.045,6.367,1.11), (6.302,1.045,6.367,1.11), (6.302,1.045,6.512,1.11), (6.447,1.045,6.512,1.11), (6.447,1.045,6.512,1.11), (6.447,1.045,6.512,1.11), (6.447,1.045,6.65,1.11), (6.585,1.045,6.65,1.11), (6.585,1.045,6.787,1.11), (6.722,1.045,6.787,1.11), (6.722,1.045,6.787,1.11), (6.722,1.045,6.787,1.11), (6.722,1.045,6.925,1.11), (6.86,1.045,6.995,1.11), (6.93,1.045,6.995,1.11), (6.93,1.045,6.995,1.11), (7.097,1.045,7.162,1.11), (7.097,1.045,7.302,1.11), (7.237,1.045,7.302,1.11), (7.237,1.045,7.44,1.11), (7.375,1.045,7.44,1.11), (7.375,1.045,7.44,1.11), (7.375,1.045,7.44,1.11), (7.375,1.045,7.577,1.11), (7.512,1.045,7.577,1.11), (7.512,1.045,7.715,1.11), (7.65,1.045,7.715,1.11), (7.65,1.045,7.715,1.11), (0.62,1.06,0.685,1.195), (1,1.06,1.065,1.195), (1.385,1.06,1.45,1.195), (0.245,1.13,0.31,1.35), (0.62,1.13,0.685,1.35), (1,1.13,1.065,1.35), (1.385,1.13,1.45,1.195), (1.385,1.13,1.45,1.195), (1.385,1.13,1.65,1.195), (1.585,1.13,1.65,1.195), (1.585,1.13,1.65,1.195), (1.585,1.13,1.65,1.195), (1.585,1.13,1.795,1.195), (1.73,1.13,1.865,1.195), (1.8,1.13,1.865,1.195), (1.8,1.13,1.865,1.195), (1.8,1.13,2.032,1.195), (1.967,1.13,2.032,1.195), (1.967,1.13,2.032,1.195), (1.967,1.13,2.032,1.195), (1.967,1.13,2.21,1.195), (2.145,1.13,2.21,1.195), (2.145,1.13,2.33,1.195), (2.265,1.13,2.33,1.195), (2.265,1.13,2.365,1.195), (2.3,1.13,2.435,1.195), (2.37,1.13,2.542,1.195), (2.477,1.13,2.542,1.195), (2.477,1.13,2.607,1.195), (2.542,1.13,2.607,1.195), (2.542,1.13,2.692,1.195), (2.627,1.13,2.692,1.195), (2.627,1.13,2.842,1.195), (2.777,1.13,2.842,1.195), (2.777,1.13,2.842,1.195), (2.777,1.13,2.842,1.195), (2.777,1.13,2.982,1.195), (2.917,1.13,2.982,1.195), (2.917,1.13,2.982,1.195), (2.917,1.13,2.982,1.195), (2.917,1.13,3.12,1.195), (3.055,1.13,3.19,1.195), (3.125,1.13,3.362,1.195), (3.297,1.13,3.362,1.195), (3.297,1.13,3.362,1.195), (3.297,1.13,3.362,1.195), (3.297,1.13,3.5,1.195), (3.435,1.13,3.5,1.195), (3.435,1.13,3.5,1.195), (3.435,1.13,3.5,1.195), (3.435,1.13,3.637,1.195), (3.572,1.13,3.637,1.195), (3.572,1.13,3.637,1.195), (3.572,1.13,3.637,1.195), (3.572,1.13,3.817,1.195), (3.752,1.13,3.817,1.195), (3.752,1.13,3.885,1.195), (0,1.285,7.76,1.4)])
R(complex109, L18_0, [(0,0,7.76,0.115), (0.217,0.05,0.282,0.115), (0.217,0.05,0.282,0.115), (0.217,0.05,0.282,0.115), (0.217,0.05,0.282,0.115), (0.217,0.05,0.282,0.115), (0.217,0.05,0.282,0.115), (0.217,0.05,0.282,0.115), (0.217,0.05,0.282,0.115), (0.217,0.05,0.282,0.472), (1.155,0.05,1.22,0.115), (1.155,0.05,1.22,0.115), (1.155,0.05,1.22,0.115), (1.155,0.05,1.22,0.115), (1.155,0.05,1.22,0.115), (1.155,0.05,1.22,0.115), (1.155,0.05,1.22,0.115), (1.155,0.05,1.22,0.115), (1.155,0.05,1.22,0.517), (1.585,0.05,1.65,0.115), (1.585,0.05,1.65,0.115), (1.585,0.05,1.65,0.272), (5.565,0.05,5.63,0.115), (5.565,0.05,5.63,0.115), (5.565,0.05,5.63,0.115), (5.565,0.05,5.63,0.115), (5.565,0.05,5.63,0.275), (1.585,0.207,1.65,0.272), (1.585,0.207,1.65,0.272), (1.585,0.207,1.65,0.482), (5.565,0.21,5.63,0.345), (0.217,0.407,0.352,0.472), (1.155,0.452,1.29,0.517), (2.407,0.46,2.542,0.525), (2.477,0.46,2.607,0.525), (2.542,0.46,2.607,0.525), (2.542,0.46,2.705,0.525), (2.64,0.46,2.705,0.525), (2.64,0.46,2.842,0.525), (2.777,0.46,2.842,0.525), (2.777,0.46,2.842,0.525), (2.777,0.46,2.842,0.525), (2.777,0.46,2.98,0.525), (2.915,0.46,2.98,0.525), (2.915,0.46,2.98,0.525), (2.915,0.46,2.98,0.525), (2.915,0.46,3.19,0.525), (3.125,0.46,3.19,0.525), (3.125,0.46,3.327,0.525), (3.262,0.46,3.327,0.525), (3.262,0.46,3.327,0.525), (3.262,0.46,3.327,0.525), (3.262,0.46,3.327,0.525), (3.262,0.46,3.327,0.525), (3.262,0.46,3.327,0.78), (0.032,0.53,0.167,0.595), (0.032,0.53,0.097,0.595), (0.032,0.53,0.097,0.595), (0.032,0.53,0.097,0.595), (0.032,0.53,0.097,0.595), (0.032,0.53,0.097,0.985), (3.957,0.567,4.032,0.707), (6.447,0.597,6.512,0.662), (6.447,0.597,6.512,0.662), (6.447,0.597,6.512,0.662), (6.447,0.597,6.65,0.662), (6.447,0.597,6.512,0.765), (6.585,0.597,6.65,0.662), (6.585,0.597,6.787,0.662), (6.722,0.597,6.787,0.662), (6.722,0.597,6.787,0.662), (6.722,0.597,6.787,0.662), (6.722,0.597,6.995,0.662), (6.93,0.597,6.995,0.662), (6.93,0.597,6.995,0.662), (6.93,0.597,6.995,0.662), (6.93,0.597,7.162,0.662), (7.097,0.597,7.162,0.662), (7.097,0.597,7.212,0.662), (7.147,0.597,7.282,0.662), (3.967,0.607,4.032,0.672), (3.732,0.687,3.867,0.78), (3.767,0.687,3.832,0.752), (5.607,0.692,5.677,0.827), (5.887,0.692,5.952,0.827), (5.887,0.7,5.987,0.765), (5.922,0.7,5.987,0.765), (5.922,0.7,6.195,0.765), (6.13,0.7,6.195,0.765), (6.13,0.7,6.195,0.765), (6.13,0.7,6.195,0.765), (6.13,0.7,6.345,0.765), (6.28,0.7,6.345,0.765), (6.28,0.7,6.367,0.765), (6.302,0.7,6.367,0.765), (6.302,0.7,6.495,0.765), (6.43,0.7,6.495,0.835), (6.43,0.7,6.512,0.765), (6.447,0.7,6.512,0.765), (3.262,0.715,3.327,0.782), (3.262,0.715,3.5,0.78), (3.435,0.715,3.5,0.78), (3.435,0.715,3.5,0.78), (3.435,0.715,3.5,0.78), (3.435,0.715,3.637,0.78), (3.572,0.715,3.637,0.78), (3.572,0.715,3.637,0.78), (3.572,0.715,3.637,0.78), (3.572,0.715,3.797,0.78), (3.14,0.717,3.275,0.782), (3.21,0.717,3.327,0.782), (0.525,0.727,0.667,0.8), (0.567,0.727,0.632,0.792), (1.645,0.727,1.787,0.8), (1.687,0.727,1.752,0.792), (2.012,0.727,2.147,0.8), (2.047,0.727,2.112,0.792), (5.607,0.727,5.672,0.792), (5.887,0.727,5.952,0.792), (7.532,0.727,7.667,0.8), (7.567,0.727,7.632,0.792), (2.082,0.735,2.17,0.8), (2.105,0.735,2.17,0.8), (2.105,0.735,2.33,0.8), (2.265,0.735,2.33,0.8), (2.265,0.735,2.467,0.8), (2.402,0.735,2.467,0.8), (2.402,0.735,2.467,0.8), (2.402,0.735,2.467,0.8), (2.402,0.735,2.607,0.8), (2.542,0.735,2.607,0.8), (2.542,0.735,2.68,0.8), (2.615,0.735,2.75,0.8), (4.28,0.735,4.415,0.8), (4.35,0.735,4.467,0.8), (4.402,0.735,4.467,0.8), (4.402,0.735,4.577,0.8), (4.512,0.735,4.577,0.8), (4.512,0.735,4.605,0.8), (4.54,0.735,4.605,0.8), (4.54,0.735,4.75,0.8), (4.685,0.735,4.75,0.8), (4.685,0.735,4.887,0.8), (4.822,0.735,4.887,0.8), (4.822,0.735,4.887,0.8), (4.822,0.735,4.887,0.8), (4.822,0.735,5.105,0.8), (5.04,0.735,5.175,0.8), (5.04,0.735,5.105,0.8), (5.04,0.735,5.105,0.8), (5.11,0.735,5.267,0.8), (5.202,0.735,5.267,0.8), (5.202,0.735,5.312,0.8), (5.247,0.735,5.312,0.8), (5.247,0.735,5.475,0.8), (5.41,0.735,5.475,0.8), (5.41,0.735,5.475,0.8), (5.41,0.735,5.475,0.8), (5.41,0.735,5.642,0.8), (5.577,0.735,5.642,0.8), (5.577,0.735,5.672,0.8), (6.94,0.735,7.075,0.8), (7.01,0.735,7.162,0.8), (7.097,0.735,7.162,0.8), (7.097,0.735,7.302,0.8), (7.237,0.735,7.302,0.8), (7.237,0.735,7.44,0.8), (7.375,0.735,7.44,0.8), (7.375,0.735,7.44,0.8), (7.375,0.735,7.44,0.8), (7.375,0.735,7.577,0.8), (7.512,0.735,7.577,0.8), (7.512,0.735,7.597,0.8), (0.032,0.92,0.112,0.985), (0.047,0.92,0.112,0.985), (0.047,0.92,0.12,1.195), (0.245,0.92,0.31,1.195), (0.047,0.967,0.112,1.032), (0.62,1.06,0.685,1.195), (1,1.06,1.065,1.195), (0.245,1.13,0.31,1.35), (0.62,1.13,0.685,1.35), (1,1.13,1.065,1.35), (0,1.285,7.76,1.4)])
R(complex109, boundary, [(0,0,7.76,1.4)])
complex109.add(gdstk.Label('A', (0.6,0.76), layer=11, texttype=0))
complex109.add(gdstk.Label('B', (4,0.64), layer=11, texttype=0))
complex109.add(gdstk.Label('C', (5.64,0.76), layer=11, texttype=0))
complex109.add(gdstk.Label('D', (7.6,0.76), layer=11, texttype=0))
complex109.add(gdstk.Label('E', (5.92,0.76), layer=11, texttype=0))
complex109.add(gdstk.Label('F', (3.8,0.72), layer=11, texttype=0))
complex109.add(gdstk.Label('G', (2.08,0.76), layer=11, texttype=0))
complex109.add(gdstk.Label('H', (1.72,0.76), layer=11, texttype=0))
complex109.add(gdstk.Label('Y', (0.08,1), layer=11, texttype=0))
complex109.add(gdstk.Label('VCC', (0,1.4), layer=11, texttype=0))
complex109.add(gdstk.Label('GND', (0,0), layer=11, texttype=0))

lib.write_gds('COMPLEX109.gds')
